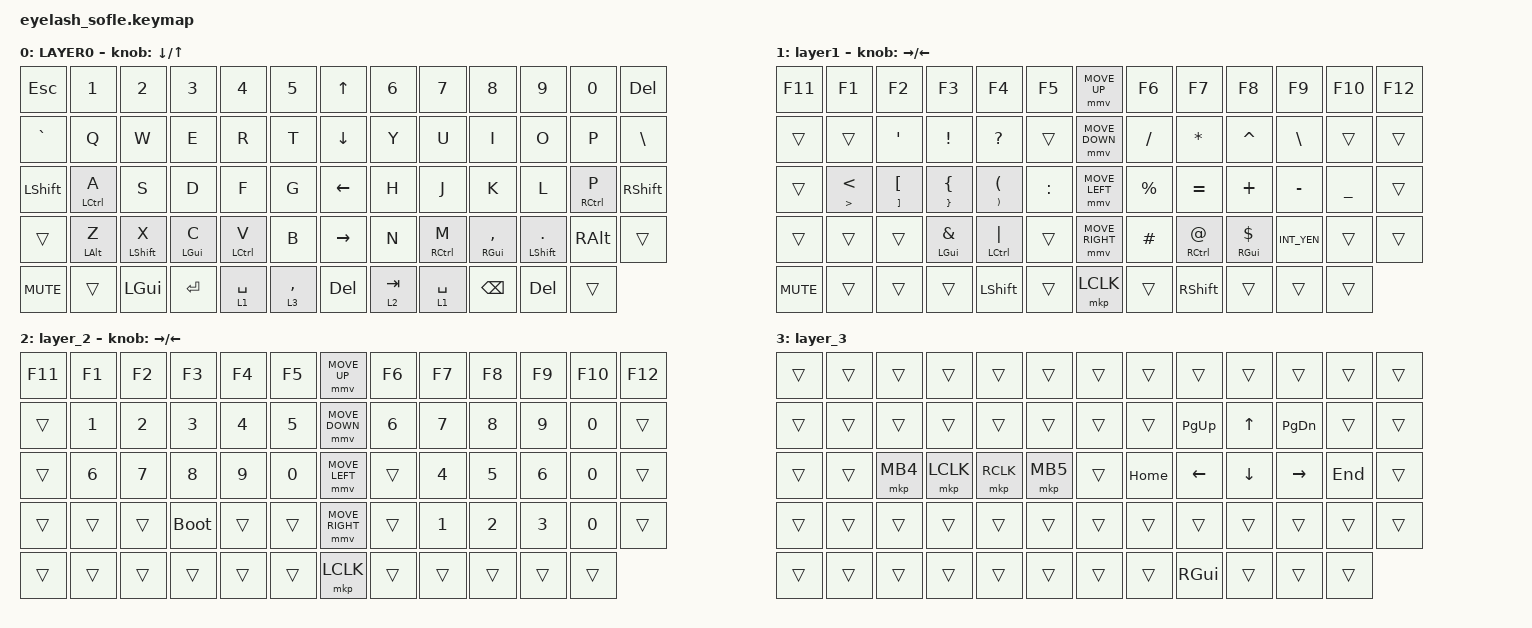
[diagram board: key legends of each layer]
#define ZMK_POINTING_DEFAULT_MOVE_VAL 1200  // 600
#define ZMK_POINTING_DEFAULT_SCRL_VAL 25   // 10

#include <input/processors.dtsi>
#include <zephyr/dt-bindings/input/input-event-codes.h>
#include <behaviors.dtsi>
#include <dt-bindings/zmk/keys.h>
#include <dt-bindings/zmk/pointing.h>

&mmv_input_listener { input-processors = <&zip_xy_scaler 2 1>; };

&msc_input_listener { input-processors = <&zip_scroll_scaler 2 1>; };

&msc {
    acceleration-exponent = <1>;      // 0
    time-to-max-speed-ms = <100>;       // 300
    delay-ms = <0>;                   // 0
};

&mmv {
    time-to-max-speed-ms = <500>;
    acceleration-exponent = <1>;
    trigger-period-ms = <16>;
};

/ {
    scroll_encoder: scroll_encoder {
        compatible = "zmk,behavior-sensor-rotate";
        #sensor-binding-cells = <0>;
        bindings = <&msc SCRL_DOWN>, <&msc SCRL_UP>;

        tap-ms = <100>;
    };

    MT_modifier: ModTap {
        compatible = "zmk,behavior-hold-tap";
        label = "MT_MODIFIER";
        bindings = <&kp>, <&kp>;

        #binding-cells = <2>;
        tapping-term-ms = <90>;
        flavor = "tap-preferred";
        hold-trigger-key-positions = <43 41 47 49 48 42 40 50 54 55 56 57 59 60 61 62>;
        retro-tap;
    };

    LT_Tap_Preferred: on_LT {
        compatible = "zmk,behavior-hold-tap";
        label = "LT_Tap_Preferred";
        bindings = <&mo>, <&kp>;

        #binding-cells = <2>;
        tapping-term-ms = <90>;
        retro-tap;
        flavor = "tap-preferred";
        hold-trigger-key-positions = <40 50 37 38 51 26 39 57 59 27 56 55 60 61>;
    };

    behaviors {
    };

    keymap {
        compatible = "zmk,keymap";

        layer0 {
            bindings = <
&kp ESC         &kp N1                   &kp N2                     &kp N3                   &kp N4                     &kp N5                       &kp UP_ARROW     &kp N6                   &kp N7                     &kp N8                        &kp N9                          &kp N0                &kp DELETE
&kp GRAVE       &kp Q                    &kp W                      &kp E                    &kp R                      &kp T                        &kp DOWN_ARROW   &kp Y                    &kp U                      &kp I                         &kp O                           &kp P                 &kp BSLH
&kp LEFT_SHIFT  &MT_modifier LCTRL A     &kp S                      &kp D                    &kp F                      &kp G                        &kp LEFT_ARROW   &kp H                    &kp J                      &kp K                         &kp L                           &MT_modifier RCTRL P  &kp RIGHT_SHIFT
&trans          &MT_modifier LEFT_ALT Z  &MT_modifier LEFT_SHIFT X  &MT_modifier LEFT_GUI C  &MT_modifier LCTRL V       &kp B                        &kp RIGHT_ARROW  &kp N                    &MT_modifier RCTRL M       &MT_modifier RIGHT_GUI COMMA  &MT_modifier LEFT_SHIFT PERIOD  &kp RIGHT_ALT         &trans
&kp C_MUTE      &trans                   &kp LEFT_GUI               &kp ENTER                &LT_Tap_Preferred 1 SPACE  &LT_Tap_Preferred 3 COMMA    &kp DELETE       &LT_Tap_Preferred 2 TAB  &LT_Tap_Preferred 1 SPACE  &kp BACKSPACE                 &kp DELETE                      &trans
            >;

            sensor-bindings = <&inc_dec_kp DOWN_ARROW UP_ARROW>;
            display-name = "LAYER0";
            label = "base";
        };

        layer_1 {
            bindings = <
&kp F11     &kp F1                               &kp F2                                   &kp F3                               &kp F4                                           &kp F5       &mmv MOVE_UP     &kp F6       &kp F7                 &kp F8                         &kp F9         &kp F10    &kp F12
&trans      &trans                               &kp SINGLE_QUOTE                         &kp EXCLAMATION                      &kp QUESTION                                     &trans       &mmv MOVE_DOWN   &kp SLASH    &kp ASTERISK           &kp CARET                      &kp BACKSLASH  &trans     &trans
&trans      &MT_modifier GREATER_THAN LESS_THAN  &MT_modifier RIGHT_BRACKET LEFT_BRACKET  &MT_modifier RIGHT_BRACE LEFT_BRACE  &MT_modifier RIGHT_PARENTHESIS LEFT_PARENTHESIS  &kp COLON    &mmv MOVE_LEFT   &kp PERCENT  &kp EQUAL              &kp PLUS                       &kp MINUS      &kp UNDER  &trans
&trans      &trans                               &trans                                   &MT_modifier LEFT_GUI AMPERSAND      &MT_modifier LCTRL PIPE                          &trans       &mmv MOVE_RIGHT  &kp HASH     &MT_modifier RCTRL AT  &MT_modifier RIGHT_GUI DOLLAR  &kp INT_YEN    &trans     &trans
&kp C_MUTE  &trans                               &trans                                   &trans                               &kp LEFT_SHIFT                                   &trans       &mkp LCLK        &trans       &kp RIGHT_SHIFT        &trans                         &trans         &trans
            >;

            display-name = "layer1";
            sensor-bindings = <&inc_dec_kp RIGHT_ARROW LEFT_ARROW>;
        };

        layer_2 {
            bindings = <
&kp F11  &kp F1        &kp F2        &kp F3        &kp F4        &kp F5          &mmv MOVE_UP     &kp F6        &kp F7        &kp F8        &kp F9        &kp F10       &kp F12
&trans   &kp NUMBER_1  &kp NUMBER_2  &kp NUMBER_3  &kp NUMBER_4  &kp NUMBER_5    &mmv MOVE_DOWN   &kp NUMBER_6  &kp NUMBER_7  &kp NUMBER_8  &kp NUMBER_9  &kp NUMBER_0  &trans
&trans   &kp NUMBER_6  &kp N7        &kp N8        &kp N9        &kp N0          &mmv MOVE_LEFT   &trans        &kp NUMBER_4  &kp NUMBER_5  &kp NUMBER_6  &kp N0        &trans
&trans   &trans        &trans        &bootloader   &trans        &trans          &mmv MOVE_RIGHT  &trans        &kp NUMBER_1  &kp NUMBER_2  &kp NUMBER_3  &kp NUMBER_0  &trans
&trans   &trans        &trans        &trans        &trans        &trans          &mkp LCLK        &trans        &trans        &trans        &trans        &trans
            >;

            sensor-bindings = <&inc_dec_kp RIGHT_ARROW LEFT_ARROW>;
        };

        layer_3 {
            bindings = <
&trans  &trans  &trans    &trans     &trans     &trans      &trans  &trans    &trans          &trans          &trans           &trans   &trans
&trans  &trans  &trans    &trans     &trans     &trans      &trans  &trans    &kp PAGE_UP     &kp UP_ARROW    &kp PAGE_DOWN    &trans   &trans
&trans  &trans  &mkp MB4  &mkp LCLK  &mkp RCLK  &mkp MB5    &trans  &kp HOME  &kp LEFT_ARROW  &kp DOWN_ARROW  &kp RIGHT_ARROW  &kp END  &trans
&trans  &trans  &trans    &trans     &trans     &trans      &trans  &trans    &trans          &trans          &trans           &trans   &trans
&trans  &trans  &trans    &trans     &trans     &trans      &trans  &trans    &kp RIGHT_GUI   &trans          &trans           &trans
            >;
        };
    };
};
